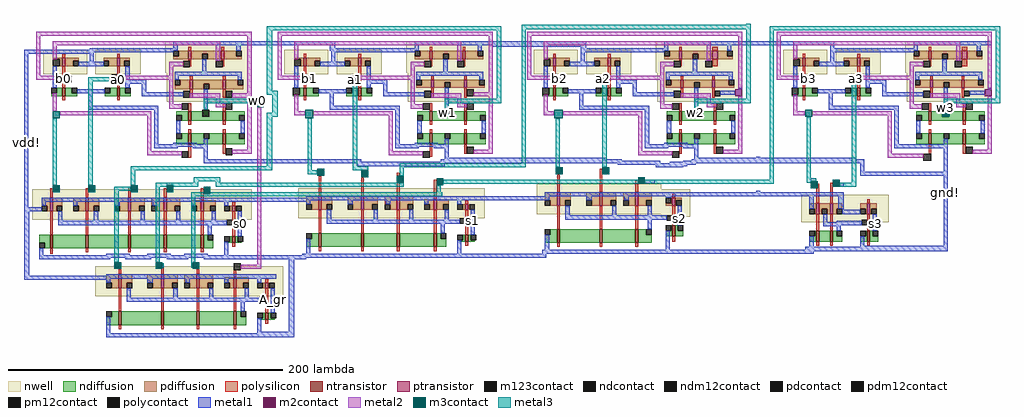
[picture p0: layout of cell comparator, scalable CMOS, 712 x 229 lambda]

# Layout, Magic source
magic
tech scmos
<< nwell >>
rect -158 4 -126 22
rect -120 4 -87 22
rect -69 5 -6 28
rect -68 -16 -6 5
rect 18 4 50 22
rect 56 4 89 22
rect 107 5 170 28
rect 108 -16 170 5
rect 200 4 232 22
rect 238 4 271 22
rect 289 5 352 28
rect 290 -16 352 5
rect 382 4 414 22
rect 420 4 453 22
rect 471 5 534 28
rect 472 -16 534 5
rect -166 -102 -6 -80
rect 28 -101 164 -79
rect 202 -80 293 -76
rect 202 -98 314 -80
rect 293 -100 314 -98
rect 395 -104 459 -84
rect -120 -158 17 -136
<< ntransistor >>
rect -144 -12 -142 -6
rect -104 -12 -102 -6
rect 32 -12 34 -6
rect 72 -12 74 -6
rect 214 -12 216 -6
rect 254 -12 256 -6
rect 396 -12 398 -6
rect 436 -12 438 -6
rect -52 -30 -50 -23
rect -27 -30 -25 -23
rect 124 -30 126 -23
rect 149 -30 151 -23
rect 306 -30 308 -23
rect 331 -30 333 -23
rect 488 -30 490 -23
rect 513 -30 515 -23
rect -52 -47 -50 -39
rect -27 -47 -25 -39
rect 124 -47 126 -39
rect 149 -47 151 -39
rect 306 -47 308 -39
rect 331 -47 333 -39
rect 488 -47 490 -39
rect 513 -47 515 -39
rect -153 -123 -151 -113
rect -127 -123 -125 -113
rect -96 -123 -94 -113
rect -70 -123 -68 -113
rect -43 -123 -41 -113
rect -20 -119 -18 -114
rect 43 -122 45 -112
rect 74 -122 76 -112
rect 100 -122 102 -112
rect 127 -122 129 -112
rect 150 -118 152 -113
rect 217 -119 219 -109
rect 248 -119 250 -109
rect 274 -119 276 -109
rect 301 -114 303 -106
rect 406 -118 408 -110
rect 416 -118 418 -110
rect 443 -118 445 -110
rect -103 -179 -101 -169
rect -72 -179 -70 -169
rect -46 -179 -44 -169
rect -19 -179 -17 -169
rect 4 -175 6 -170
<< ptransistor >>
rect -144 10 -142 16
rect -104 10 -102 16
rect -52 15 -50 21
rect -28 15 -26 21
rect 32 10 34 16
rect 72 10 74 16
rect 124 15 126 21
rect 148 15 150 21
rect -51 -7 -49 0
rect -27 -7 -25 0
rect 214 10 216 16
rect 254 10 256 16
rect 306 15 308 21
rect 330 15 334 21
rect 125 -6 127 0
rect 149 -6 151 0
rect 396 10 398 16
rect 436 10 438 16
rect 488 15 490 21
rect 512 15 516 21
rect 307 -6 309 0
rect 330 -6 332 0
rect 489 -6 491 0
rect 512 -6 514 0
rect -153 -96 -151 -86
rect -127 -96 -125 -86
rect -96 -96 -94 -86
rect -70 -96 -68 -86
rect -43 -96 -41 -88
rect -20 -96 -18 -92
rect 43 -95 45 -85
rect 74 -95 76 -85
rect 100 -95 102 -85
rect 127 -95 129 -87
rect 150 -95 152 -91
rect 217 -92 219 -82
rect 248 -92 250 -82
rect 274 -92 276 -82
rect 301 -92 303 -86
rect 406 -98 408 -90
rect 416 -98 418 -90
rect 443 -98 445 -90
rect -103 -152 -101 -142
rect -72 -152 -70 -142
rect -46 -152 -44 -142
rect -19 -152 -17 -144
rect 4 -152 6 -148
<< ndiffusion >>
rect -148 -10 -144 -6
rect -152 -12 -144 -10
rect -142 -10 -137 -6
rect -142 -12 -133 -10
rect -109 -10 -104 -6
rect -113 -12 -104 -10
rect -102 -10 -98 -6
rect -102 -12 -94 -10
rect 29 -11 32 -6
rect 24 -12 32 -11
rect 34 -10 39 -6
rect 34 -12 43 -10
rect 67 -10 72 -6
rect 63 -12 72 -10
rect 74 -10 78 -6
rect 74 -12 82 -10
rect 211 -11 214 -6
rect 206 -12 214 -11
rect 216 -10 221 -6
rect 216 -12 225 -10
rect 249 -10 254 -6
rect 245 -12 254 -10
rect 256 -10 260 -6
rect 256 -12 264 -10
rect 393 -11 396 -6
rect 388 -12 396 -11
rect 398 -10 403 -6
rect 398 -12 407 -10
rect 431 -10 436 -6
rect 427 -12 436 -10
rect 438 -10 442 -6
rect 438 -12 446 -10
rect -42 -23 -37 -22
rect -61 -26 -52 -23
rect -57 -30 -52 -26
rect -50 -30 -27 -23
rect -25 -26 -11 -23
rect -25 -30 -15 -26
rect 115 -26 124 -23
rect 119 -30 124 -26
rect 126 -27 134 -23
rect 139 -27 149 -23
rect 126 -30 149 -27
rect 151 -26 165 -23
rect 151 -30 161 -26
rect 297 -26 306 -23
rect 301 -30 306 -26
rect 308 -27 316 -23
rect 321 -27 331 -23
rect 308 -30 331 -27
rect 333 -26 347 -23
rect 333 -30 343 -26
rect 479 -26 488 -23
rect 483 -30 488 -26
rect 490 -27 498 -23
rect 503 -27 513 -23
rect 490 -30 513 -27
rect 515 -26 529 -23
rect 515 -30 525 -26
rect -57 -43 -52 -39
rect -61 -47 -52 -43
rect -50 -43 -41 -39
rect -37 -43 -27 -39
rect -50 -47 -27 -43
rect -25 -43 -15 -39
rect -25 -47 -11 -43
rect 119 -43 124 -39
rect 115 -47 124 -43
rect 126 -43 135 -39
rect 139 -43 149 -39
rect 126 -47 149 -43
rect 151 -43 161 -39
rect 151 -47 165 -43
rect 301 -43 306 -39
rect 297 -47 306 -43
rect 308 -43 317 -39
rect 321 -43 331 -39
rect 308 -47 331 -43
rect 333 -43 343 -39
rect 333 -47 347 -43
rect 483 -43 488 -39
rect 479 -47 488 -43
rect 490 -43 499 -39
rect 503 -43 513 -39
rect 490 -47 513 -43
rect 515 -43 525 -39
rect 515 -47 529 -43
rect -161 -119 -153 -113
rect -157 -123 -153 -119
rect -151 -123 -127 -113
rect -125 -123 -96 -113
rect -94 -123 -70 -113
rect -68 -123 -43 -113
rect -41 -117 -38 -113
rect -41 -123 -34 -117
rect -22 -118 -20 -114
rect -24 -119 -20 -118
rect -18 -118 -16 -114
rect 38 -116 43 -112
rect -18 -119 -13 -118
rect 34 -122 43 -116
rect 45 -122 74 -112
rect 76 -122 100 -112
rect 102 -122 127 -112
rect 129 -116 132 -112
rect 212 -113 217 -109
rect 129 -122 136 -116
rect 148 -117 150 -113
rect 146 -118 150 -117
rect 152 -117 154 -113
rect 152 -118 157 -117
rect 208 -119 217 -113
rect 219 -119 248 -109
rect 250 -119 274 -109
rect 276 -113 282 -109
rect 276 -119 286 -113
rect 300 -110 301 -106
rect 296 -114 301 -110
rect 303 -110 305 -106
rect 303 -114 309 -110
rect 405 -114 406 -110
rect 401 -118 406 -114
rect 408 -118 416 -110
rect 418 -114 421 -110
rect 418 -118 425 -114
rect 442 -114 443 -110
rect 438 -118 443 -114
rect 445 -114 447 -110
rect 445 -118 451 -114
rect -108 -173 -103 -169
rect -112 -179 -103 -173
rect -101 -179 -72 -169
rect -70 -179 -46 -169
rect -44 -179 -19 -169
rect -17 -173 -14 -169
rect -17 -179 -10 -173
rect 2 -174 4 -170
rect 0 -175 4 -174
rect 6 -174 8 -170
rect 6 -175 11 -174
<< pdiffusion >>
rect -59 17 -52 21
rect -151 15 -144 16
rect -146 10 -144 15
rect -142 14 -132 16
rect -142 10 -136 14
rect -114 14 -104 16
rect -110 10 -104 14
rect -102 14 -95 16
rect -63 15 -52 17
rect -50 19 -28 21
rect -50 15 -42 19
rect -38 15 -28 19
rect -26 17 -17 21
rect -26 15 -13 17
rect 117 17 124 21
rect 25 15 32 16
rect -102 10 -99 14
rect 30 10 32 15
rect 34 14 44 16
rect 34 10 40 14
rect 62 14 72 16
rect 66 10 72 14
rect 74 14 81 16
rect 113 15 124 17
rect 126 19 148 21
rect 126 15 134 19
rect 138 15 148 19
rect 150 17 159 21
rect 150 15 163 17
rect 299 17 306 21
rect 207 15 214 16
rect 74 10 77 14
rect -58 -4 -51 0
rect -62 -7 -51 -4
rect -49 -3 -27 0
rect -49 -7 -41 -3
rect -37 -7 -27 -3
rect -25 -4 -16 0
rect -25 -7 -12 -4
rect 212 10 214 15
rect 216 14 226 16
rect 216 10 222 14
rect 244 14 254 16
rect 248 10 254 14
rect 256 14 263 16
rect 295 15 306 17
rect 308 19 330 21
rect 308 15 316 19
rect 320 15 330 19
rect 334 17 341 21
rect 334 15 345 17
rect 481 17 488 21
rect 389 15 396 16
rect 256 10 259 14
rect 118 -4 125 0
rect 114 -6 125 -4
rect 127 -2 149 0
rect 127 -6 135 -2
rect 139 -6 149 -2
rect 151 -4 160 0
rect 151 -6 164 -4
rect 394 10 396 15
rect 398 14 408 16
rect 398 10 404 14
rect 426 14 436 16
rect 430 10 436 14
rect 438 14 445 16
rect 477 15 488 17
rect 490 19 512 21
rect 490 15 498 19
rect 502 15 512 19
rect 516 17 523 21
rect 516 15 527 17
rect 438 10 441 14
rect 300 -4 307 0
rect 296 -6 307 -4
rect 309 -2 330 0
rect 309 -6 317 -2
rect 321 -6 330 -2
rect 332 -4 342 0
rect 332 -6 346 -4
rect 482 -4 489 0
rect 478 -6 489 -4
rect 491 -2 512 0
rect 491 -6 499 -2
rect 503 -6 512 -2
rect 514 -4 524 0
rect 514 -6 528 -4
rect -159 -92 -153 -86
rect -155 -96 -153 -92
rect -151 -92 -144 -86
rect -151 -96 -148 -92
rect -136 -92 -127 -86
rect -132 -96 -127 -92
rect -125 -92 -117 -86
rect -125 -96 -121 -92
rect -106 -92 -96 -86
rect -102 -96 -96 -92
rect -94 -92 -84 -86
rect -94 -96 -88 -92
rect -79 -92 -70 -86
rect -75 -96 -70 -92
rect -68 -92 -58 -86
rect -68 -96 -62 -92
rect -50 -92 -43 -88
rect -46 -96 -43 -92
rect -41 -92 -32 -88
rect 34 -91 43 -85
rect -41 -96 -36 -92
rect -22 -96 -20 -92
rect -18 -96 -17 -92
rect 38 -95 43 -91
rect 45 -91 53 -85
rect 45 -95 49 -91
rect 64 -91 74 -85
rect 68 -95 74 -91
rect 76 -91 86 -85
rect 76 -95 82 -91
rect 91 -91 100 -85
rect 95 -95 100 -91
rect 102 -91 112 -85
rect 102 -95 108 -91
rect 120 -91 127 -87
rect 124 -95 127 -91
rect 129 -91 138 -87
rect 208 -88 217 -82
rect 129 -95 134 -91
rect 148 -95 150 -91
rect 152 -95 153 -91
rect 212 -92 217 -88
rect 219 -88 227 -82
rect 219 -92 223 -88
rect 238 -88 248 -82
rect 242 -92 248 -88
rect 250 -88 260 -82
rect 250 -92 256 -88
rect 265 -88 274 -82
rect 269 -92 274 -88
rect 276 -88 286 -82
rect 276 -92 282 -88
rect 300 -90 301 -86
rect 296 -92 301 -90
rect 303 -88 308 -86
rect 303 -92 304 -88
rect 401 -94 406 -90
rect 405 -98 406 -94
rect 408 -94 416 -90
rect 408 -98 410 -94
rect 414 -98 416 -94
rect 418 -94 425 -90
rect 418 -98 421 -94
rect 438 -94 443 -90
rect 442 -98 443 -94
rect 445 -94 450 -90
rect 445 -98 446 -94
rect -112 -148 -103 -142
rect -108 -152 -103 -148
rect -101 -148 -93 -142
rect -101 -152 -97 -148
rect -82 -148 -72 -142
rect -78 -152 -72 -148
rect -70 -148 -60 -142
rect -70 -152 -64 -148
rect -55 -148 -46 -142
rect -51 -152 -46 -148
rect -44 -148 -34 -142
rect -44 -152 -38 -148
rect -26 -148 -19 -144
rect -22 -152 -19 -148
rect -17 -148 -8 -144
rect -17 -152 -12 -148
rect 2 -152 4 -148
rect 6 -152 7 -148
<< ndcontact >>
rect -152 -10 -148 -6
rect -137 -10 -133 -6
rect -113 -10 -109 -6
rect -98 -10 -94 -6
rect 39 -10 43 -6
rect 63 -10 67 -6
rect 78 -10 82 -6
rect 221 -10 225 -6
rect 245 -10 249 -6
rect 260 -10 264 -6
rect 403 -10 407 -6
rect 427 -10 431 -6
rect 442 -10 446 -6
rect -61 -30 -57 -26
rect -15 -30 -11 -26
rect 115 -30 119 -26
rect 134 -27 139 -22
rect 161 -30 165 -26
rect 297 -30 301 -26
rect 316 -27 321 -22
rect 343 -30 347 -26
rect 479 -30 483 -26
rect 498 -27 503 -22
rect 525 -30 529 -26
rect -61 -43 -57 -39
rect -41 -43 -37 -39
rect -15 -43 -11 -39
rect 115 -43 119 -39
rect 135 -43 139 -39
rect 161 -43 165 -39
rect 297 -43 301 -39
rect 317 -43 321 -39
rect 343 -43 347 -39
rect 479 -43 483 -39
rect 499 -43 503 -39
rect 525 -43 529 -39
rect -161 -123 -157 -119
rect -38 -117 -34 -113
rect -26 -118 -22 -114
rect -16 -118 -12 -114
rect 34 -116 38 -112
rect 132 -116 136 -112
rect 208 -113 212 -109
rect 144 -117 148 -113
rect 154 -117 158 -113
rect 282 -113 286 -109
rect 296 -110 300 -106
rect 305 -110 309 -106
rect 401 -114 405 -110
rect 421 -114 425 -110
rect 438 -114 442 -110
rect 447 -114 451 -110
rect -112 -173 -108 -169
rect -14 -173 -10 -169
rect -2 -174 2 -170
rect 8 -174 12 -170
<< pdcontact >>
rect -63 17 -59 21
rect -136 10 -132 14
rect -114 10 -110 14
rect -42 15 -38 19
rect -17 17 -13 21
rect 113 17 117 21
rect -99 10 -95 14
rect 40 10 44 14
rect 62 10 66 14
rect 134 15 138 19
rect 159 17 163 21
rect 295 17 299 21
rect 77 10 81 14
rect -62 -4 -58 0
rect -41 -7 -37 -3
rect -16 -4 -12 0
rect 222 10 226 14
rect 244 10 248 14
rect 316 15 320 19
rect 341 17 345 21
rect 477 17 481 21
rect 259 10 263 14
rect 114 -4 118 0
rect 135 -6 139 -2
rect 160 -4 164 0
rect 404 10 408 14
rect 426 10 430 14
rect 498 15 502 19
rect 523 17 527 21
rect 441 10 445 14
rect 296 -4 300 0
rect 317 -6 321 -2
rect 342 -4 346 0
rect 478 -4 482 0
rect 499 -6 503 -2
rect 524 -4 528 0
rect -159 -96 -155 -92
rect -148 -96 -144 -92
rect -136 -96 -132 -92
rect -121 -96 -117 -92
rect -106 -96 -102 -92
rect -88 -96 -84 -92
rect -79 -96 -75 -92
rect -62 -96 -58 -92
rect -50 -96 -46 -92
rect -36 -96 -32 -92
rect -26 -96 -22 -92
rect -17 -96 -13 -92
rect 34 -95 38 -91
rect 49 -95 53 -91
rect 64 -95 68 -91
rect 82 -95 86 -91
rect 91 -95 95 -91
rect 108 -95 112 -91
rect 120 -95 124 -91
rect 134 -95 138 -91
rect 144 -95 148 -91
rect 153 -95 157 -91
rect 208 -92 212 -88
rect 223 -92 227 -88
rect 238 -92 242 -88
rect 256 -92 260 -88
rect 265 -92 269 -88
rect 282 -92 286 -88
rect 296 -90 300 -86
rect 304 -92 308 -88
rect 401 -98 405 -94
rect 410 -98 414 -94
rect 421 -98 425 -94
rect 438 -98 442 -94
rect 446 -98 450 -94
rect -112 -152 -108 -148
rect -97 -152 -93 -148
rect -82 -152 -78 -148
rect -64 -152 -60 -148
rect -55 -152 -51 -148
rect -38 -152 -34 -148
rect -26 -152 -22 -148
rect -12 -152 -8 -148
rect -2 -152 2 -148
rect 7 -152 11 -148
<< polysilicon >>
rect -52 21 -50 24
rect -28 21 -26 24
rect 124 21 126 24
rect 148 21 150 24
rect 306 21 308 24
rect 330 21 334 24
rect 488 21 490 24
rect 512 21 516 24
rect -144 16 -142 19
rect -104 16 -102 19
rect 32 16 34 19
rect 72 16 74 19
rect -52 14 -50 15
rect -28 14 -26 15
rect -144 -6 -142 10
rect -104 4 -102 10
rect -51 10 -50 14
rect -27 10 -26 14
rect 214 16 216 19
rect 254 16 256 19
rect 124 14 126 15
rect 148 14 150 15
rect -108 -1 -102 4
rect -51 0 -49 3
rect -27 0 -25 3
rect -104 -6 -102 -1
rect 32 -6 34 10
rect 72 3 74 10
rect 125 10 126 14
rect 149 10 150 14
rect 396 16 398 19
rect 436 16 438 19
rect 306 14 308 15
rect 67 -2 74 3
rect 125 0 127 3
rect 149 0 151 3
rect 72 -6 74 -2
rect 214 -6 216 10
rect 254 3 256 10
rect 307 10 308 14
rect 330 10 334 15
rect 488 14 490 15
rect 249 -2 256 3
rect 307 0 309 3
rect 330 0 332 3
rect 254 -6 256 -2
rect 396 -6 398 10
rect 436 3 438 10
rect 489 10 490 14
rect 512 10 516 15
rect 431 -2 438 3
rect 489 0 491 3
rect 512 0 514 3
rect 436 -6 438 -2
rect -144 -15 -142 -12
rect -104 -15 -102 -12
rect -51 -13 -49 -7
rect -27 -13 -25 -7
rect 32 -15 34 -12
rect 72 -15 74 -12
rect 125 -13 127 -6
rect 149 -13 151 -6
rect 214 -15 216 -12
rect 254 -15 256 -12
rect 307 -13 309 -6
rect 330 -13 332 -6
rect 396 -15 398 -12
rect 436 -15 438 -12
rect 489 -13 491 -6
rect 512 -13 514 -6
rect -52 -23 -50 -17
rect -27 -23 -25 -17
rect 124 -23 126 -17
rect 149 -23 151 -17
rect 306 -23 308 -17
rect 331 -23 333 -17
rect 488 -23 490 -17
rect 513 -23 515 -17
rect -52 -33 -50 -30
rect -27 -33 -25 -30
rect 124 -33 126 -30
rect 149 -33 151 -30
rect 306 -33 308 -30
rect 331 -33 333 -30
rect 488 -33 490 -30
rect 513 -33 515 -30
rect -52 -39 -50 -36
rect -27 -39 -25 -36
rect 124 -39 126 -36
rect 149 -39 151 -36
rect 306 -39 308 -36
rect 331 -39 333 -36
rect 488 -39 490 -36
rect 513 -39 515 -36
rect -52 -57 -50 -47
rect -27 -54 -25 -47
rect 124 -56 126 -47
rect 149 -54 151 -47
rect 306 -54 308 -47
rect 331 -54 333 -47
rect 488 -54 490 -47
rect 513 -54 515 -47
rect -153 -86 -151 -79
rect -127 -86 -125 -79
rect -96 -86 -94 -79
rect -70 -86 -68 -79
rect -43 -88 -41 -79
rect 43 -85 45 -70
rect 100 -70 102 -68
rect 74 -85 76 -71
rect 100 -85 102 -75
rect -20 -92 -18 -89
rect 127 -87 129 -73
rect 217 -82 219 -69
rect 248 -82 250 -65
rect 274 -82 276 -73
rect 407 -79 408 -76
rect 150 -91 152 -88
rect 301 -86 303 -83
rect 406 -90 408 -79
rect 416 -90 418 -75
rect 443 -90 445 -87
rect -153 -113 -151 -96
rect -127 -113 -125 -96
rect -96 -113 -94 -96
rect -70 -113 -68 -96
rect -43 -113 -41 -96
rect -20 -114 -18 -96
rect 43 -112 45 -95
rect 74 -112 76 -95
rect 100 -112 102 -95
rect 127 -112 129 -95
rect -20 -122 -18 -119
rect 150 -113 152 -95
rect 217 -109 219 -92
rect 248 -109 250 -92
rect 274 -109 276 -92
rect 301 -106 303 -92
rect 150 -121 152 -118
rect 406 -110 408 -98
rect 416 -110 418 -98
rect 443 -110 445 -98
rect 301 -118 303 -114
rect 217 -122 219 -119
rect 248 -122 250 -119
rect 274 -122 276 -119
rect 406 -121 408 -118
rect 416 -121 418 -118
rect 443 -121 445 -118
rect -153 -127 -151 -123
rect -127 -126 -125 -123
rect -96 -126 -94 -123
rect -70 -126 -68 -123
rect -43 -126 -41 -123
rect 43 -125 45 -122
rect 74 -125 76 -122
rect 100 -125 102 -122
rect 127 -125 129 -122
rect -71 -138 -70 -134
rect -103 -142 -101 -138
rect -72 -142 -70 -138
rect -46 -142 -44 -138
rect -19 -144 -17 -139
rect 4 -148 6 -145
rect -103 -169 -101 -152
rect -72 -169 -70 -152
rect -46 -169 -44 -152
rect -19 -169 -17 -152
rect 4 -170 6 -152
rect 4 -178 6 -175
rect -103 -182 -101 -179
rect -72 -182 -70 -179
rect -46 -182 -44 -179
rect -19 -182 -17 -179
<< polycontact >>
rect 332 -12 336 -8
rect 514 -12 518 -8
rect 42 -70 47 -65
rect -151 -82 -146 -77
rect -125 -82 -120 -77
rect -94 -82 -89 -77
rect -68 -82 -63 -77
rect -41 -83 -36 -78
rect 74 -71 79 -66
rect 216 -69 221 -64
rect 100 -75 105 -70
rect 129 -77 134 -72
rect 250 -69 255 -64
rect 276 -76 281 -71
rect 402 -79 407 -74
rect 418 -78 423 -73
rect -24 -106 -20 -102
rect 146 -105 150 -101
rect 297 -103 301 -99
rect 439 -106 443 -102
rect -106 -138 -101 -133
rect -76 -138 -71 -133
rect -49 -138 -44 -133
rect 0 -162 4 -158
<< metal1 >>
rect -63 25 55 28
rect -63 23 -60 25
rect -124 22 -60 23
rect -172 21 -60 22
rect -17 21 -14 25
rect 51 23 55 25
rect 113 25 238 28
rect 113 23 116 25
rect 51 21 116 23
rect 159 21 162 25
rect 170 24 238 25
rect 234 23 238 24
rect 295 25 419 28
rect 295 23 298 25
rect 234 21 298 23
rect 341 21 344 25
rect 416 23 419 25
rect 477 25 534 28
rect 477 23 480 25
rect 416 21 480 23
rect 523 21 526 25
rect -172 20 -63 21
rect -172 19 -121 20
rect -172 -93 -169 19
rect -124 13 -121 19
rect 52 20 113 21
rect -132 10 -114 13
rect -151 -6 -148 10
rect -98 0 -95 10
rect -42 6 -39 15
rect 52 13 55 20
rect 234 20 295 21
rect 44 10 62 13
rect -62 3 -13 6
rect -62 0 -59 3
rect -16 0 -13 3
rect -98 -3 -83 0
rect -98 -6 -95 -3
rect -133 -10 -113 -7
rect -86 -9 -83 -3
rect 25 -6 28 10
rect 78 0 81 10
rect 134 6 137 15
rect 234 13 237 20
rect 416 20 477 21
rect 226 10 244 13
rect 114 3 163 6
rect 114 0 117 3
rect 160 0 163 3
rect 78 -3 93 0
rect 78 -6 81 -3
rect -125 -19 -122 -10
rect -86 -12 -56 -9
rect -125 -22 -74 -19
rect -41 -22 -38 -7
rect 43 -10 63 -7
rect 90 -9 93 -3
rect 207 -6 210 10
rect 260 0 263 10
rect 316 6 319 15
rect 416 13 419 20
rect 408 10 426 13
rect 296 3 345 6
rect 296 0 299 3
rect 342 0 345 3
rect 260 -3 275 0
rect 260 -6 263 -3
rect 51 -19 54 -10
rect 90 -12 120 -9
rect 51 -22 102 -19
rect 135 -22 138 -6
rect 225 -10 245 -7
rect 272 -9 275 -3
rect 389 -6 392 10
rect 442 0 445 10
rect 498 6 501 15
rect 478 3 527 6
rect 478 0 481 3
rect 524 0 527 3
rect 442 -3 457 0
rect 442 -6 445 -3
rect 233 -19 236 -10
rect 272 -12 302 -9
rect 233 -22 284 -19
rect 317 -22 320 -6
rect 349 -7 352 -6
rect 336 -11 347 -8
rect 407 -10 427 -7
rect 454 -9 457 -3
rect 389 -12 392 -11
rect 415 -19 418 -10
rect 454 -12 484 -9
rect 415 -22 466 -19
rect 499 -22 502 -6
rect 531 -7 534 -6
rect 518 -11 529 -8
rect -77 -47 -74 -22
rect -61 -39 -58 -30
rect -14 -39 -11 -30
rect -63 -47 -46 -46
rect -41 -47 -38 -43
rect -77 -49 -38 -47
rect -77 -50 -60 -49
rect -49 -50 -38 -49
rect 99 -47 102 -22
rect 115 -39 118 -30
rect 162 -39 165 -30
rect 113 -47 130 -46
rect 135 -47 138 -43
rect 99 -49 138 -47
rect 281 -47 284 -22
rect 297 -39 300 -30
rect 344 -39 347 -30
rect 295 -47 312 -46
rect 317 -47 320 -43
rect 281 -49 320 -47
rect 463 -47 466 -22
rect 479 -39 482 -30
rect 526 -39 529 -30
rect 499 -47 502 -43
rect 99 -50 116 -49
rect 127 -50 138 -49
rect -41 -58 -38 -50
rect 135 -57 138 -50
rect 281 -50 298 -49
rect 309 -50 320 -49
rect 317 -57 320 -50
rect 463 -50 502 -47
rect 362 -57 365 -56
rect 135 -58 253 -57
rect 317 -58 435 -57
rect -41 -60 74 -58
rect 132 -59 264 -58
rect 315 -59 441 -58
rect 132 -60 292 -59
rect 309 -60 441 -59
rect -41 -61 292 -60
rect 299 -61 441 -60
rect 71 -63 135 -61
rect 261 -62 318 -61
rect 289 -63 312 -62
rect 289 -64 309 -63
rect 438 -67 441 -61
rect 499 -67 502 -50
rect 438 -70 502 -67
rect -68 -77 -64 -75
rect 281 -76 288 -73
rect 402 -74 406 -72
rect 423 -78 426 -75
rect 362 -82 365 -81
rect 208 -85 426 -82
rect 34 -86 211 -85
rect -159 -88 211 -86
rect 238 -88 242 -85
rect 266 -88 269 -85
rect 296 -86 300 -85
rect -159 -89 37 -88
rect -159 -92 -156 -89
rect -136 -92 -133 -89
rect -106 -92 -102 -89
rect -78 -92 -75 -89
rect -50 -92 -47 -89
rect -26 -92 -23 -89
rect 34 -91 37 -89
rect 64 -91 68 -88
rect 92 -91 95 -88
rect 120 -91 123 -88
rect 144 -91 147 -88
rect -172 -96 -159 -93
rect -172 -143 -168 -96
rect -147 -103 -144 -96
rect -121 -103 -118 -96
rect -87 -103 -84 -96
rect -61 -103 -58 -96
rect -35 -103 -32 -96
rect -147 -106 -24 -103
rect -38 -113 -35 -106
rect -16 -114 -13 -96
rect 49 -102 52 -95
rect 83 -102 86 -95
rect 109 -102 112 -95
rect 135 -102 138 -95
rect 49 -105 146 -102
rect 132 -112 135 -105
rect 154 -113 157 -95
rect 223 -99 226 -92
rect 257 -99 260 -92
rect 283 -99 286 -92
rect 223 -102 297 -99
rect 283 -109 286 -102
rect 305 -106 308 -92
rect 401 -94 404 -85
rect 422 -94 426 -85
rect 425 -95 426 -94
rect 425 -98 438 -95
rect 411 -104 414 -98
rect 421 -104 439 -103
rect 411 -106 439 -104
rect 411 -107 424 -106
rect 421 -110 424 -107
rect 447 -110 450 -98
rect -161 -128 -158 -123
rect -112 -128 -95 -127
rect -82 -128 -65 -127
rect -55 -128 -38 -127
rect -26 -128 -23 -118
rect 34 -127 37 -116
rect 144 -127 147 -117
rect 208 -124 211 -113
rect 296 -124 299 -110
rect 401 -122 404 -114
rect 438 -121 441 -114
rect 499 -121 502 -70
rect 438 -122 502 -121
rect 398 -124 502 -122
rect 206 -125 502 -124
rect 206 -127 404 -125
rect 31 -128 209 -127
rect -161 -130 209 -128
rect -161 -131 -109 -130
rect -98 -131 -79 -130
rect -68 -131 -52 -130
rect -41 -131 34 -130
rect -71 -137 -70 -134
rect -112 -143 12 -142
rect -172 -145 12 -143
rect -172 -146 -109 -145
rect -112 -148 -109 -146
rect -82 -148 -78 -145
rect -54 -148 -51 -145
rect -26 -148 -23 -145
rect -2 -148 1 -145
rect -97 -159 -94 -152
rect -63 -159 -60 -152
rect -37 -159 -34 -152
rect -11 -159 -8 -152
rect -97 -162 0 -159
rect -14 -169 -11 -162
rect 8 -170 11 -152
rect -112 -185 -109 -173
rect -2 -184 1 -174
rect 21 -184 25 -131
rect -2 -185 25 -184
rect -112 -188 25 -185
<< m2contact >>
rect 347 -12 352 -7
rect 529 -12 534 -7
<< pm12contact >>
rect -142 -2 -137 3
rect -56 9 -51 14
rect -32 9 -27 14
rect 34 -2 39 3
rect 120 9 125 14
rect 144 9 149 14
rect -56 -13 -51 -8
rect -57 -22 -52 -17
rect -25 -13 -20 -8
rect 216 -2 221 3
rect 302 9 307 14
rect 325 9 330 14
rect -25 -22 -20 -17
rect 120 -13 125 -8
rect 119 -22 124 -17
rect 151 -12 156 -7
rect 398 -2 403 3
rect 484 9 489 14
rect 507 9 512 14
rect 151 -22 156 -17
rect 302 -13 307 -8
rect 301 -22 306 -17
rect 333 -22 338 -17
rect 484 -13 489 -8
rect 483 -22 488 -17
rect 515 -22 520 -17
rect -57 -57 -52 -52
rect -25 -55 -20 -50
rect 119 -57 124 -52
rect 151 -54 156 -49
rect 301 -57 306 -52
rect 333 -54 338 -49
rect 484 -59 490 -54
rect 515 -54 520 -49
rect -19 -139 -14 -134
<< pdm12contact >>
rect -151 10 -146 15
rect 25 10 30 15
rect 207 10 212 15
rect 389 10 394 15
<< ndm12contact >>
rect 24 -11 29 -6
rect 206 -11 211 -6
rect 388 -11 393 -6
<< metal2 >>
rect -163 32 -6 35
rect -163 3 -160 32
rect -151 25 -29 28
rect -151 15 -148 25
rect -32 14 -29 25
rect -66 10 -56 13
rect -163 0 -142 3
rect -66 3 -63 10
rect -103 0 -63 3
rect -151 -23 -148 -10
rect -66 -18 -63 0
rect -51 -13 -29 -10
rect -9 -10 -6 32
rect 13 32 170 35
rect 13 3 16 32
rect 25 25 147 28
rect 25 15 28 25
rect 144 14 147 25
rect 110 10 120 13
rect 110 3 113 10
rect 13 0 34 3
rect 72 0 113 3
rect -20 -13 -6 -10
rect -32 -17 -29 -13
rect -66 -21 -57 -18
rect -32 -20 -25 -17
rect -146 -26 -79 -23
rect -82 -52 -79 -26
rect -82 -55 -57 -52
rect -9 -51 -6 -13
rect -20 -54 -6 -51
rect -2 -135 1 -20
rect 25 -23 28 -11
rect 110 -18 113 0
rect 125 -13 147 -10
rect 167 -9 170 32
rect 195 32 352 35
rect 195 3 198 32
rect 207 25 329 28
rect 207 15 210 25
rect 326 14 329 25
rect 292 10 302 13
rect 292 3 295 10
rect 195 0 216 3
rect 254 0 295 3
rect 156 -12 170 -9
rect 144 -17 147 -13
rect 110 -21 119 -18
rect 144 -20 151 -17
rect 25 -26 33 -23
rect 39 -26 97 -23
rect 94 -52 97 -26
rect 94 -55 119 -52
rect 167 -51 170 -12
rect 207 -23 210 -11
rect 292 -18 295 0
rect 349 -7 352 32
rect 377 32 534 35
rect 377 3 380 32
rect 389 25 511 28
rect 389 15 392 25
rect 508 14 511 25
rect 474 10 484 13
rect 474 3 477 10
rect 377 0 398 3
rect 436 0 477 3
rect 307 -13 329 -10
rect 326 -17 329 -13
rect 292 -21 301 -18
rect 326 -20 333 -17
rect 207 -26 215 -23
rect 221 -26 279 -23
rect 156 -54 170 -51
rect 276 -52 279 -26
rect 276 -55 301 -52
rect 349 -51 352 -12
rect 389 -23 392 -11
rect 474 -18 477 0
rect 531 -7 534 32
rect 489 -13 511 -10
rect 508 -17 511 -13
rect 474 -21 483 -18
rect 508 -20 515 -17
rect 389 -26 398 -23
rect 403 -26 461 -23
rect 338 -54 352 -51
rect 458 -54 461 -26
rect 531 -51 534 -12
rect 520 -54 534 -51
rect 458 -57 484 -54
rect -14 -138 1 -135
<< m3contact >>
rect -151 -28 -146 -23
rect -2 -20 3 -15
rect -151 -82 -146 -77
rect -125 -82 -120 -77
rect -94 -82 -89 -77
rect -68 -82 -63 -77
rect -41 -83 -36 -78
rect -106 -138 -101 -133
rect -76 -138 -71 -133
rect -49 -138 -44 -133
rect 33 -28 39 -22
rect 134 -27 139 -22
rect 215 -28 221 -22
rect 316 -27 321 -22
rect 398 -27 403 -22
rect 498 -27 503 -22
rect 42 -70 47 -65
rect 74 -71 79 -66
rect 216 -69 221 -64
rect 250 -69 255 -64
rect 100 -75 105 -70
rect 129 -77 134 -72
rect 276 -76 281 -71
rect 402 -79 407 -74
rect 418 -78 423 -73
<< m123contact >>
rect -108 -1 -103 4
rect 67 -2 72 3
rect -42 -27 -37 -22
rect 249 -2 254 3
rect 431 -2 436 3
<< metal3 >>
rect 355 40 358 41
rect 5 36 176 39
rect -125 -1 -108 2
rect -151 -77 -148 -28
rect -125 -77 -122 -1
rect 5 -8 9 36
rect 5 -11 13 -8
rect -41 -15 1 -14
rect -41 -17 -2 -15
rect -41 -22 -38 -17
rect 9 -24 13 -11
rect 5 -27 13 -24
rect 5 -63 9 -27
rect -94 -66 9 -63
rect 35 -66 38 -28
rect 68 -63 71 -2
rect 173 -14 176 36
rect 135 -17 176 -14
rect 191 37 358 40
rect 135 -22 138 -17
rect 191 -61 194 37
rect -94 -77 -91 -66
rect 35 -69 42 -66
rect 68 -66 79 -63
rect 102 -64 194 -61
rect 216 -64 219 -28
rect 250 -64 253 -2
rect 355 -14 358 37
rect 317 -17 358 -14
rect 372 36 540 39
rect 317 -22 320 -17
rect 102 -70 105 -64
rect -48 -74 -29 -71
rect -48 -75 -45 -74
rect -76 -77 -45 -75
rect -106 -81 -94 -78
rect -106 -133 -103 -81
rect -76 -78 -68 -77
rect -76 -133 -73 -78
rect -63 -78 -45 -77
rect -32 -75 -29 -74
rect -32 -78 105 -75
rect 134 -76 276 -73
rect 372 -73 375 36
rect 281 -76 375 -73
rect 399 -72 402 -27
rect 399 -74 406 -72
rect 399 -75 402 -74
rect -50 -83 -41 -82
rect 129 -82 132 -77
rect 432 -75 435 -2
rect 537 -14 540 36
rect 499 -17 540 -14
rect 499 -22 502 -17
rect 423 -78 435 -75
rect -36 -83 133 -82
rect -50 -85 133 -83
rect -50 -133 -47 -85
rect -71 -137 -70 -134
rect -50 -137 -49 -133
<< labels >>
rlabel polysilicon -103 0 -103 0 1 a0
rlabel polysilicon -144 0 -142 2 1 b0
rlabel pm12contact 36 1 36 1 1 b1
rlabel metal1 70 0 70 0 1 a1
rlabel pm12contact 219 1 219 1 1 b2
rlabel m123contact 251 1 251 1 1 a2
rlabel pm12contact 400 1 400 1 1 b3
rlabel m123contact 435 1 435 1 1 a3
rlabel metal3 -2 -15 -2 -15 1 w0
rlabel metal1 449 -105 449 -105 1 s3
rlabel metal1 305 -102 308 -100 1 s2
rlabel metal1 155 -103 155 -103 1 s1
rlabel metal1 -14 -105 -14 -105 1 s0
rlabel metal1 10 -160 10 -160 1 A_gr
rlabel metal1 -170 -46 -170 -46 3 vdd!
rlabel metal1 500 -82 500 -82 1 gnd!
rlabel m3contact 137 -24 137 -24 1 w1
rlabel m3contact 318 -24 318 -24 1 w2
rlabel metal3 500 -20 500 -20 1 w3
<< end >>
